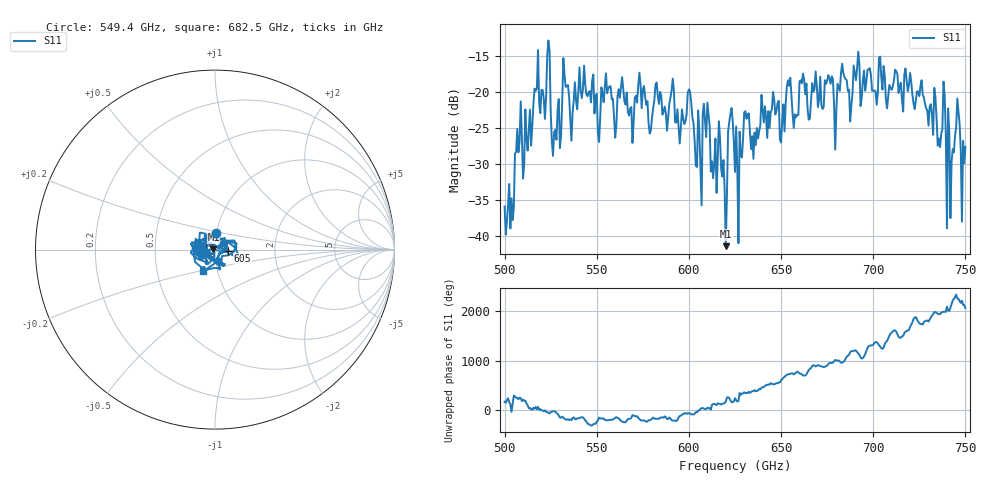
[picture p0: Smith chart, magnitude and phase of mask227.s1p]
!Created with skrf (http://scikit-rf.org).
# GHz S MA R 50.0
!freq magS11 angS11
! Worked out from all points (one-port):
!   401 points, 500 GHz to 750 GHz, reference 50 ohm
!   lowest |S11| = -41.4 dB at 620 GHz (marker M1), VSWR 1.02, Z = 49.2 + j0.0854 ohm
!   |S11| at or under -10 dB: start of sweep to end of sweep
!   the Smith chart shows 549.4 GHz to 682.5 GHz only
!   S11 on the Smith chart (normalised r, x): 549.4 GHz: 0.99, +0.19; 605 GHz: 1.16, -0.02; 682.5 GHz: 0.85, -0.20
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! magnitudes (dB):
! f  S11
! 500 GHz  -35.9
! 516.9 GHz  -19.8
! 523.8 GHz  -12.8
! 526.9 GHz  -25.6
! 531.2 GHz  -21.4
! 549.4 GHz  -20.5
! 562.5 GHz  -20.8
! 579.4 GHz  -25.3
! 590.6 GHz  -19.7
! 593.8 GHz  -22.4
! 600.6 GHz  -20.0
! 605 GHz  -22.6
! 609.4 GHz  -26.3
! 620 GHz  -41.4
! 622.5 GHz  -23.1
! 625 GHz  -31.1
! 627.5 GHz  -25.5
! 631.2 GHz  -23.7
! 635 GHz  -29.3
! 656.2 GHz  -23.0
! 682.5 GHz  -17.4
! 687.5 GHz  -24.1
! 690.6 GHz  -18.4
! 718.8 GHz  -19.9
! 738.1 GHz  -18.6
! 741.2 GHz  -25.7
! 745.6 GHz  -20.9
! 750 GHz  -27.6
